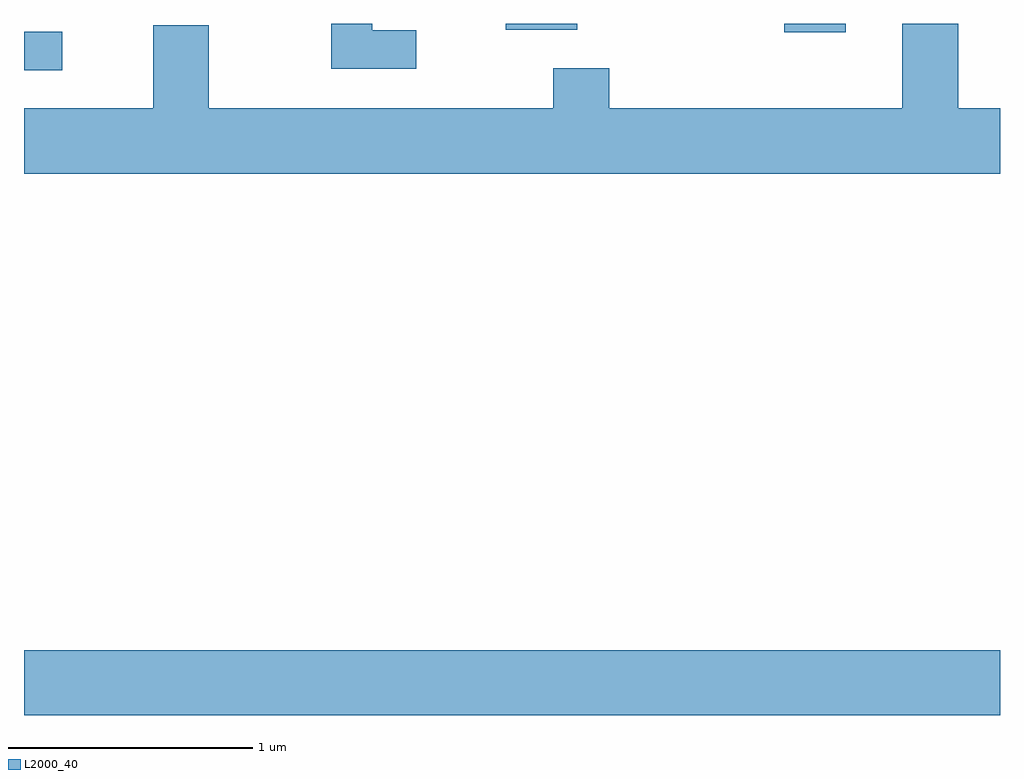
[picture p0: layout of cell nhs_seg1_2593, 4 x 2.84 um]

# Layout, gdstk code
import gdstk
lib = gdstk.Library(unit=1e-6, precision=1e-09)
def R(c, l, rs):  # rectangles x0, y0, x1, y1
    for r in rs: c.add(gdstk.rectangle(r[:2], r[2:], *l))
def P(c, l, *ps):  # polygons
    for p in ps: c.add(gdstk.Polygon(p, *l))
L2000_40 = (2000, 40)

nhs_seg1_2593 = lib.new_cell('nhs_seg1_2593')
R(nhs_seg1_2593, L2000_40, [(263.611,932.876,267.611,933.144), (263.611,935.521,263.768,935.679), (266.726,935.676,266.979,935.712), (265.586,935.686,265.879,935.712)])
P(nhs_seg1_2593, L2000_40, [(267.611,935.364),(267.439,935.364),(267.439,935.712),(267.211,935.712),(267.211,935.364),(266.009,935.364),(266.009,935.529),(265.781,935.529),(265.781,935.364),(264.369,935.364),(264.369,935.704),(264.141,935.704),(264.141,935.364),(263.611,935.364),(263.611,935.096),(267.611,935.096)],
  [(265.218,935.684),(265.039,935.684),(265.039,935.712),(264.871,935.712),(264.871,935.526),(265.218,935.526)])

lib.write_gds('nhs_seg1_2593.gds')
